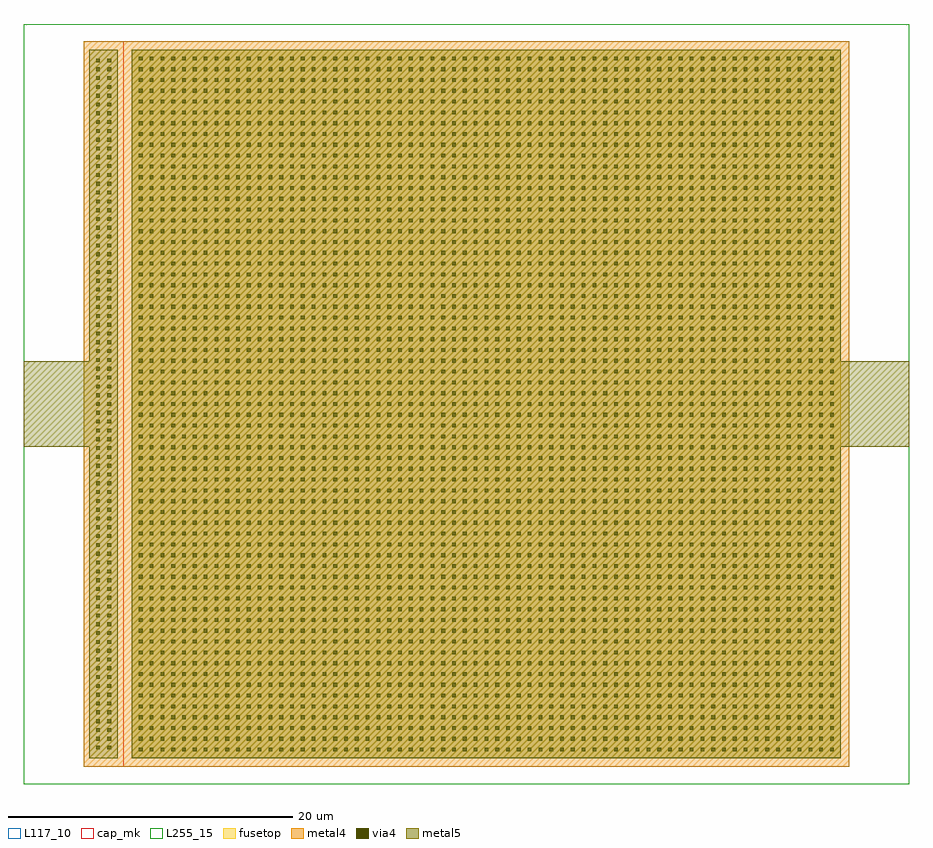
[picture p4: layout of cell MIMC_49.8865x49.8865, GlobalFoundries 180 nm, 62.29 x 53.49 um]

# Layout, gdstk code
import gdstk
lib = gdstk.Library(unit=1e-6, precision=1e-09)
def R(c, l, rs):  # rectangles x0, y0, x1, y1
    for r in rs: c.add(gdstk.rectangle(r[:2], r[2:], *l))
def A(c, l, x, y, w, h, nx, ny, dx, dy):  # array of equal rectangles
    R(c, l, [(x+i*dx, y+j*dy, x+i*dx+w, y+j*dy+h) for i in range(nx) for j in range(ny)])
via4 = (41, 0)
metal4 = (46, 0)
fusetop = (75, 0)
metal5 = (81, 0)
cap_mk = (117, 5)
L117_10 = (117, 10)
L255_15 = (255, 15)

mimc_49_8865x49_8865 = lib.new_cell('MIMC_49.8865x49.8865')
A(mimc_49_8865x49_8865, via4, 0.493, 0.493, 0.26, 0.26, 65, 65, 0.76, 0.76)
A(mimc_49_8865x49_8865, via4, -2.53, 0.633, 0.26, 0.26, 1, 79, 0, 0.62)
A(mimc_49_8865x49_8865, via4, -1.73, 0.633, 0.26, 0.26, 1, 79, 0, 0.62)
R(mimc_49_8865x49_8865, metal4, [(-3.4,-0.6,0,50.487), (-0.6,-0.6,50.486,50.486)])
R(mimc_49_8865x49_8865, fusetop, [(0,0,49.886,49.886)])
R(mimc_49_8865x49_8865, metal5, [(-3,0,-1,49.887), (0,0,49.886,49.886), (-7.6,21.943,-3,27.943), (48.887,21.943,54.687,27.943)])
R(mimc_49_8865x49_8865, cap_mk, [(-0.6,-0.6,50.486,50.486)])
R(mimc_49_8865x49_8865, L117_10, [(0,0,49.886,0.1)])
R(mimc_49_8865x49_8865, L255_15, [(-7.6,-1.8,54.687,51.687)])

lib.write_gds('MIMC_49.8865x49.8865.gds')
